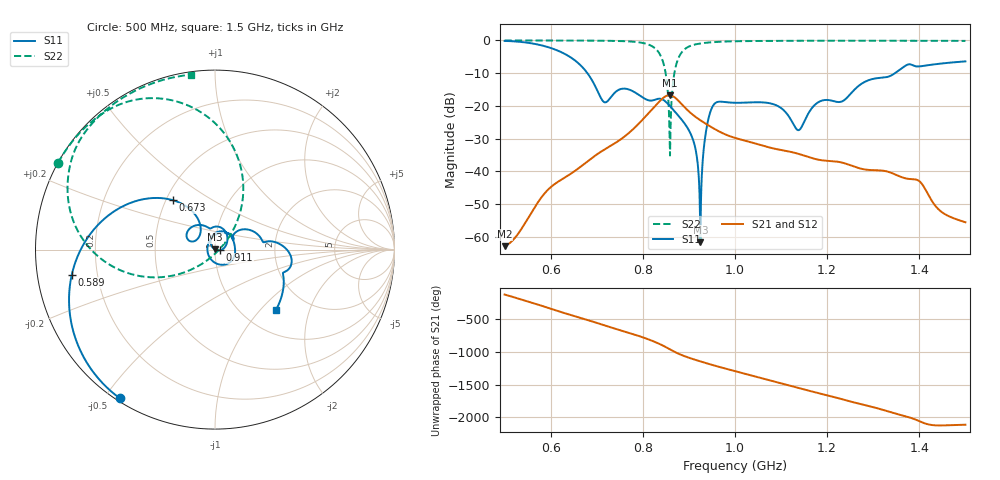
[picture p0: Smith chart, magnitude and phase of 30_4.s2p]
! TOUCHSTONE file generated by CST MICROWAVE STUDIO
! Date and time: Fri Oct  2 16:59:05 2020
! Project name: Scenario_1_Free_Space_out_of_line.cst
! Parameters = {Lambda=346.42; Step_1=17.321; dy1=-155.249; dx1=693; L_HA=400; MT=2.54; Rad_Dielectric=30; Rad_Lower=7.3; Rad_Upper=30; a_HA=580; a_WG=246; b_HA=500; b_WG=121; c_HA=0; c_WG=187; d_feed=85; h_feed=15; h_lower=18; h_upper=40}
! Header version: 2018
! Port assignment regex: !\s*Touchstone port\s*([0-9]+)\s*=\s*(CST MWS port|CST DS port)\s*([0-9]+|Zmin|Zmax)\s*\(\"(.*)\"\)(\s*mode\s*([0-9]+))?.*
! Touchstone port assignment:
! Touchstone port 1 = CST MWS port 1 ("")
! Touchstone port 2 = CST MWS port 2 ("")
# GHz S DB R 50
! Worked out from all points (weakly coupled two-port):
!   1003 points, 500 MHz to 1.5 GHz, reference 50 ohm
!   highest |S21| = -16.71 dB at 858 MHz (marker M1); lowest = -62.8 dB at 500 MHz (marker M2)
!   lowest |S11| = -61.6 dB at 925 MHz (marker M3), VSWR 1.00, Z = 50 + j0.083 ohm
!   |S11| at or under -10 dB: 679.7 MHz to 1.347 GHz (667.5 MHz wide, 65.9 % of centre)
!   |S22| runs from -35.2 to 0.0 dB; largest |S21 - S12| = 1.6e-06
!   S11 on the Smith chart (normalised r, x): 500 MHz: 0.01, -0.55; 589 MHz: 0.11, -0.09; 673 MHz: 0.54, +0.34; 911 MHz: 1.06, -0.01; 1.5 GHz: 1.39, -1.23
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0.5  -0.15 -122.7  -62.84 -119.2  -62.84 -119.2  -0.01 151.1
0.589  -1.83 -170.0  -46.36 48.2  -46.36 48.2  -0.02 144.9
0.667  -7.89 134.9  -38.35 -120.8  -38.35 -120.8  -0.04 138.2
0.673  -8.81 130.6  -37.70 -133.7  -37.70 -133.7  -0.05 137.6
0.717  -18.90 142.2  -33.30 126.8  -33.30 126.8  -0.10 132.6
0.788  -16.32 117.3  -25.86 -27.1  -25.86 -27.1  -0.51 117.4
0.834  -17.81 86.8  -18.93 -150.0  -18.93 -150.0  -3.56 86.5
0.848  -18.52 62.7  -17.18 161.7  -17.18 161.7  -8.90 63.9
0.858  -19.92 47.5  -16.71 123.3  -16.71 123.3  -29.09 17.9
0.876  -22.81 26.4  -18.25 57.6  -18.25 57.6  -5.83 -165.5
0.911  -31.29 -8.5  -22.99 -34.2  -22.99 -34.2  -1.32 161.9
0.925  -61.61 93.3  -24.41 -65.2  -24.41 -65.2  -0.92 156.0
0.936  -28.75 127.9  -25.40 -88.8  -25.40 -88.8  -0.73 152.5
0.949  -20.85 90.6  -26.51 -115.9  -26.51 -115.9  -0.56 149.2
1  -19.04 11.1  -29.78 146.0  -29.78 146.0  -0.25 140.2
1.089  -19.77 -52.0  -33.17 -20.7  -33.17 -20.7  -0.13 130.6
1.137  -27.41 -174.0  -34.61 -111.1  -34.61 -111.1  -0.11 126.5
1.167  -20.64 77.8  -35.95 -166.1  -35.95 -166.1  -0.09 124.1
1.334  -11.01 8.7  -40.19 -115.8  -40.19 -115.8  -0.09 111.4
1.398  -7.95 -19.0  -42.79 104.9  -42.79 104.9  -0.10 106.4
1.444  -7.11 -30.7  -51.89 32.5  -51.89 32.5  -0.12 102.6
1.5  -6.40 -45.1  -55.54 43.7  -55.53 43.6  -0.14 97.8
